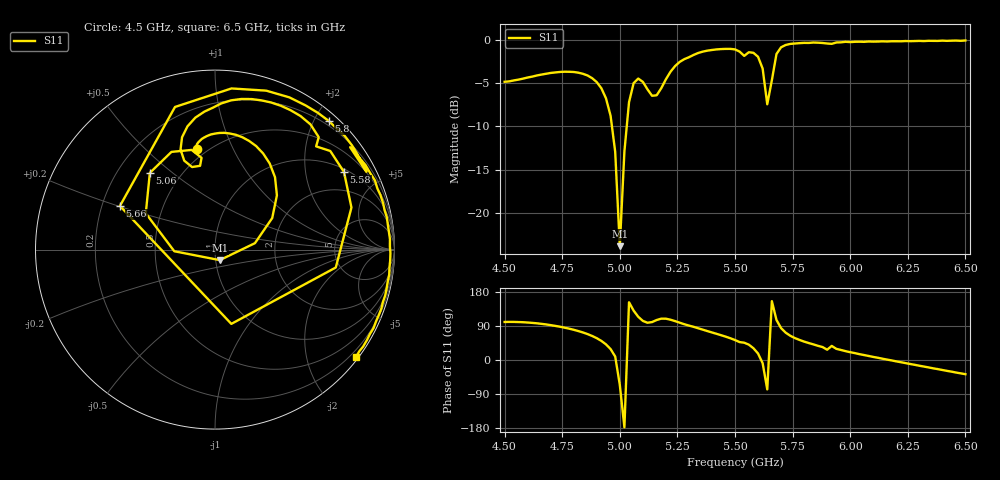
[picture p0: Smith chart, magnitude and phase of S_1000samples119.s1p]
! TOUCHSTONE file generated by CST MICROWAVE STUDIO
! Date and time: Thu Oct 27 01:43:42 2022
! Project name: L.cst
! Parameters = {Di=1.27; Epsilon_r=1.56; InnerDiameter=1.27; Length=2; Lf=10; Lg=60; OuterConductorThickness=0.2921; OuterDiameter=3.6; Wf=3; Wp=41.2; de=1.5; df=6.8; g=0.8; gx=1.04835; gy=4.09888; h=2.34; hf=1.524; px=14.7177; py=11.2682; w=9.7; wx=13.6694; wy=7.1693}
! Header version: 2018
! Port assignment regex: !\s*Touchstone port\s*([0-9]+)\s*=\s*(CST MWS port|CST DS port)\s*([0-9]+|Zmin|Zmax)\s*\(\"(.*)\"\)(\s*mode\s*([0-9]+))?.*
! Touchstone port assignment:
! Touchstone port 1 = CST MWS port 1 ("")
# GHz S DB R 50
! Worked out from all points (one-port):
!   101 points, 4.5 GHz to 6.5 GHz, reference 50 ohm
!   lowest |S11| = -23.8 dB at 5 GHz (marker M1), VSWR 1.14, Z = 52.4 - j6.17 ohm
!   |S11| at or under -10 dB: 4.966 GHz to 5.03 GHz (64.32 MHz wide, 1.29 % of centre)
!   S11 on the Smith chart (normalised r, x): 4.5 GHz: 0.44, +0.73; 5.06 GHz: 0.34, +0.42; 5.58 GHz: 1.11, +3.25; 5.66 GHz: 0.28, +0.20; 5.8 GHz: 0.13, +2.21; 6.5 GHz: 0.06, -2.95
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4.5  -4.87 100.3
4.76  -3.71 85.4
4.86  -4.14 68.4
4.94  -6.77 41.2
4.98  -12.94 9.1
5  -23.81 -65.5
5.02  -12.88 -177.7
5.04  -7.22 152.3
5.06  -5.02 130.3
5.08  -4.49 114.0
5.12  -5.73 98.3
5.16  -6.42 105.5
5.26  -2.58 98.5
5.38  -1.28 76.3
5.5  -1.14 52.7
5.58  -1.53 31.0
5.62  -3.35 -8.4
5.64  -7.46 -77.6
5.66  -4.69 155.3
5.68  -1.67 105.7
5.72  -0.63 72.1
5.76  -0.46 57.8
5.8  -0.38 48.5
5.9  -0.46 27.2
5.92  -0.49 37.2
6  -0.30 20.6
6.26  -0.19 -10.5
6.5  -0.10 -37.5
